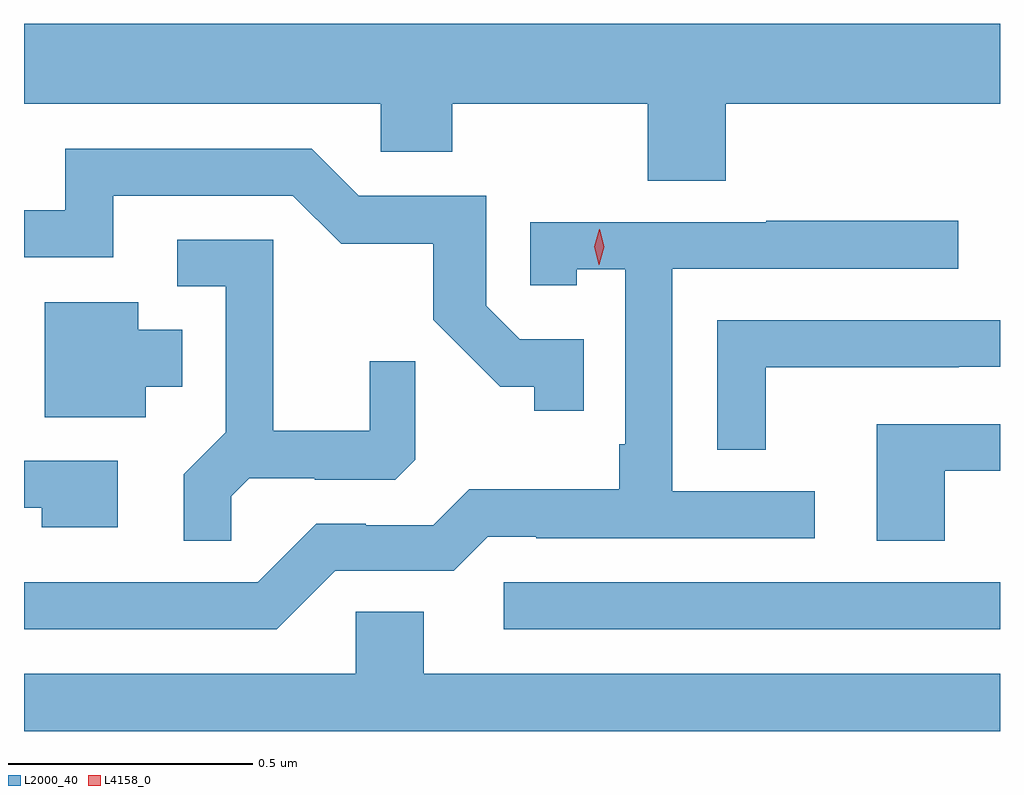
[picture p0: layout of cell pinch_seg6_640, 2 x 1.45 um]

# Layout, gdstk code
import gdstk
lib = gdstk.Library(unit=1e-6, precision=1e-09)
def R(c, l, rs):  # rectangles x0, y0, x1, y1
    for r in rs: c.add(gdstk.rectangle(r[:2], r[2:], *l))
def P(c, l, *ps):  # polygons
    for p in ps: c.add(gdstk.Polygon(p, *l))
L2000_40 = (2000, 40)
L4158_0 = (4158, 0)

pinch_seg6_640 = lib.new_cell('pinch_seg6_640')
R(pinch_seg6_640, L2000_40, [(466.623,964.908,467.64,965.004)])
P(pinch_seg6_640, L2000_40, [(467.078,965.984),(467.64,965.984),(467.64,966.148),(465.64,966.148),(465.64,965.984),(466.371,965.984),(466.371,965.886),(466.518,965.886),(466.518,965.984),(466.918,965.984),(466.918,965.827),(467.078,965.827)],
  [(466.787,965.502),(466.656,965.502),(466.587,965.571),(466.587,965.796),(466.326,965.796),(466.23,965.892),(465.725,965.892),(465.725,965.766),(465.64,965.766),(465.64,965.67),(465.823,965.67),(465.823,965.796),(466.191,965.796),(466.29,965.698),(466.479,965.698),(466.479,965.542),(466.616,965.405),(466.686,965.405),(466.686,965.355),(466.787,965.355)],
  [(466.278,965.028),(466.521,965.028),(466.59,965.097),(466.69,965.097),(466.69,965.094),(467.26,965.094),(467.26,965.19),(466.968,965.19),(466.968,965.646),(467.554,965.646),(467.554,965.745),(467.161,965.745),(467.161,965.742),(466.677,965.742),(466.677,965.613),(466.773,965.613),(466.773,965.645),(466.872,965.645),(466.872,965.287),(466.86,965.287),(466.86,965.194),(466.552,965.194),(466.479,965.121),(466.34,965.121),(466.34,965.124),(466.239,965.124),(466.119,965.004),(465.64,965.004),(465.64,964.908),(466.158,964.908)],
  [(466.065,965.18),(466.102,965.217),(466.236,965.217),(466.236,965.214),(466.401,965.214),(466.442,965.255),(466.442,965.457),(466.348,965.457),(466.348,965.314),(466.151,965.314),(466.151,965.706),(465.954,965.706),(465.954,965.61),(466.053,965.61),(466.053,965.311),(465.967,965.225),(465.967,965.089),(466.065,965.089)],
  [(465.889,965.405),(465.964,965.405),(465.964,965.521),(465.874,965.521),(465.874,965.578),(465.683,965.578),(465.683,965.342),(465.889,965.342)],
  [(467.16,965.445),(467.555,965.445),(467.555,965.446),(467.64,965.446),(467.64,965.541),(467.061,965.541),(467.061,965.275),(467.16,965.275)],
  [(467.527,965.232),(467.64,965.232),(467.64,965.328),(467.387,965.328),(467.387,965.089),(467.527,965.089)],
  [(465.832,965.253),(465.64,965.253),(465.64,965.157),(465.676,965.157),(465.676,965.117),(465.832,965.117)],
  [(467.64,964.816),(466.459,964.816),(466.459,964.943),(466.32,964.943),(466.32,964.816),(465.64,964.816),(465.64,964.699),(467.64,964.699)])
P(pinch_seg6_640, L4158_0, [(466.818,965.655),(466.809,965.691),(466.819,965.727),(466.819,965.727),(466.82,965.727),(466.829,965.691),(466.819,965.655),(466.819,965.655)])

lib.write_gds('pinch_seg6_640.gds')
